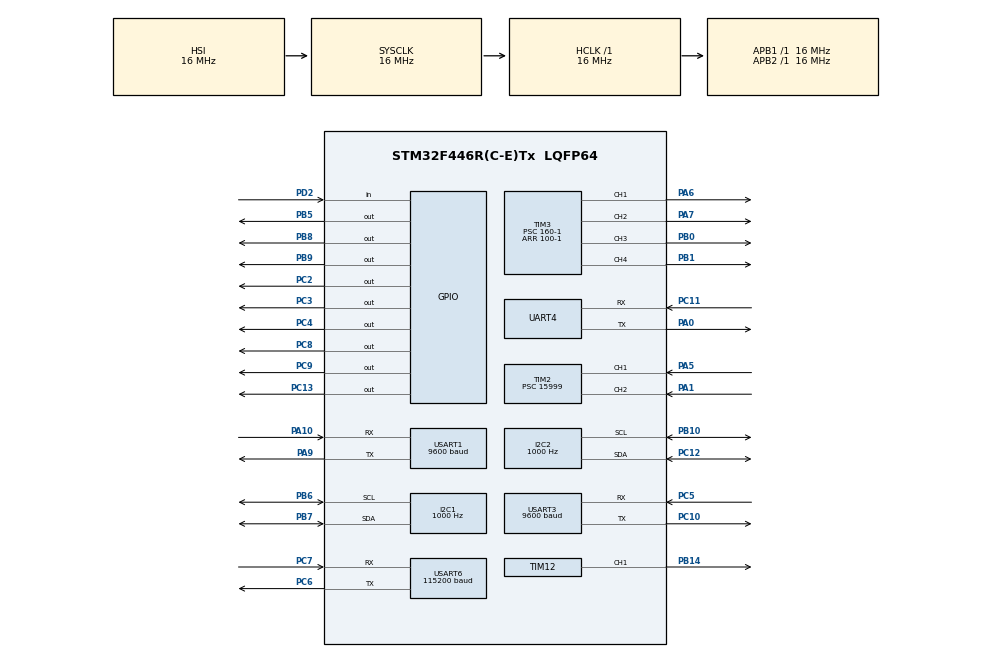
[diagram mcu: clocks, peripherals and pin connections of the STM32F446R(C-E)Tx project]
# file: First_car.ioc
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I2C1.ClockSpeed=1000
I2C2.ClockSpeed=1000
I2C2.OwnAddress=60
Mcu.Family=STM32F4
Mcu.Name=STM32F446R(C-E)Tx
Mcu.Package=LQFP64
NVIC.PriorityGroup=NVIC_PRIORITYGROUP_4
NVIC.TIM2_IRQn=true\:0\:0\:false\:false\:true\:true\:true\:true
NVIC.TIM7_IRQn=true\:15\:0\:false\:false\:true\:false\:true\:true
NVIC.TimeBase=TIM7_IRQn
NVIC.TimeBaseIP=TIM7
NVIC.UART4_IRQn=true\:6\:0\:true\:false\:true\:true\:true\:true
NVIC.USART1_IRQn=true\:8\:0\:true\:false\:true\:true\:true\:true
NVIC.USART3_IRQn=true\:7\:0\:true\:false\:true\:true\:true\:true
NVIC.USART6_IRQn=true\:7\:0\:true\:false\:true\:true\:true\:true
PA0-WKUP.Mode=Asynchronous
PA0-WKUP.Signal=UART4_TX
PA1.Signal=S_TIM2_CH2
PA10.Mode=Asynchronous
PA10.Signal=USART1_RX
PA5.GPIO_PuPd=GPIO_NOPULL
PA5.Signal=S_TIM2_CH1_ETR
PA6.Signal=S_TIM3_CH1
PA7.Signal=S_TIM3_CH2
PA9.Mode=Asynchronous
PA9.Signal=USART1_TX
PB0.Signal=S_TIM3_CH3
PB1.Signal=S_TIM3_CH4
PB10.Mode=I2C
PB10.Signal=I2C2_SCL
PB14.Signal=S_TIM12_CH1
PB4.Signal=I2C3_SDA
PB5.Signal=GPIO_Output
PB6.Mode=I2C
PB6.Signal=I2C1_SCL
PB7.Mode=I2C
PB7.Signal=I2C1_SDA
PB8.Signal=GPIO_Output
PB9.Signal=GPIO_Output
PC10.Mode=Asynchronous
PC10.Signal=USART3_TX
PC11.Mode=Asynchronous
PC11.Signal=UART4_RX
PC12.Mode=I2C
PC12.Signal=I2C2_SDA
PC13.Signal=GPIO_Output
PC2.Signal=GPIO_Output
PC3.Signal=GPIO_Output
PC4.Signal=GPIO_Output
PC5.Mode=Asynchronous
PC5.Signal=USART3_RX
PC6.Mode=Asynchronous
PC6.Signal=USART6_TX
PC7.Mode=Asynchronous
PC7.Signal=USART6_RX
PC8.Signal=GPIO_Output
PC9.Signal=GPIO_Output
PD2.Signal=GPIO_Input
ProjectManager.HeapSize=0x200
ProjectManager.StackSize=0x400
ProjectManager.TargetToolchain=STM32CubeIDE
RCC.AHBFreq_Value=16000000
RCC.APB1Freq_Value=16000000
RCC.APB1TimFreq_Value=16000000
RCC.APB2Freq_Value=16000000
RCC.APB2TimFreq_Value=16000000
RCC.CortexFreq_Value=16000000
RCC.HCLKFreq_Value=16000000
RCC.PLLM=8
RCC.PLLN=64
RCC.SYSCLKFreq_VALUE=16000000
RCC.USBFreq_Value=64000000
RCC.VCOOutputFreq_Value=128000000
SH.S_TIM12_CH1.0=TIM12_CH1,PWM Generation1 CH1
SH.S_TIM2_CH1_ETR.0=TIM2_CH1,Input_Capture1_from_TI1
SH.S_TIM2_CH2.0=TIM2_CH2,Input_Capture2_from_TI2
SH.S_TIM3_CH1.0=TIM3_CH1,PWM Generation1 CH1
SH.S_TIM3_CH2.0=TIM3_CH2,PWM Generation2 CH2
SH.S_TIM3_CH3.0=TIM3_CH3,PWM Generation3 CH3
SH.S_TIM3_CH4.0=TIM3_CH4,PWM Generation4 CH4
TIM10.Prescaler=16-1
TIM12.Channel-PWM\ Generation1\ CH1=TIM_CHANNEL_1
TIM12.Period=100-1
TIM12.Prescaler=80-1
TIM2.AutoReloadPreload=TIM_AUTORELOAD_PRELOAD_ENABLE
TIM2.Channel-Input_Capture1_from_TI1=TIM_CHANNEL_1
TIM2.Channel-Input_Capture2_from_TI2=TIM_CHANNEL_2
TIM2.Period=999
TIM2.Prescaler=15999
TIM3.Channel-PWM\ Generation1\ CH1=TIM_CHANNEL_1
TIM3.Channel-PWM\ Generation2\ CH2=TIM_CHANNEL_2
TIM3.Channel-PWM\ Generation3\ CH3=TIM_CHANNEL_3
TIM3.Channel-PWM\ Generation4\ CH4=TIM_CHANNEL_4
TIM3.Period=100-1
TIM3.Prescaler=160-1
UART4.VirtualMode=Asynchronous
USART1.BaudRate=9600
USART1.VirtualMode=VM_ASYNC
USART3.BaudRate=9600
USART3.VirtualMode=VM_ASYNC
USART6.BaudRate=115200
USART6.VirtualMode=VM_ASYNC
VP_SYS_VS_tim7.Mode=TIM7
VP_TIM10_VS_ClockSourceINT.Mode=Enable_Timer
VP_TIM6_VS_ClockSourceINT.Mode=Enable_Timer
board=custom

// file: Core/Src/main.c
/* USER CODE BEGIN Header */
/**
 ******************************************************************************
 * @file           : main.c
 * @brief          : Main program body
 ******************************************************************************
 * @attention
 *
 * Copyright (c) 2024 STMicroelectronics.
 * All rights reserved.
 *
 * This software is licensed under terms that can be found in the LICENSE file
 * in the root directory of this software component.
 * If no LICENSE file comes with this software, it is provided AS-IS.
 *
 ******************************************************************************
 */
/* USER CODE END Header */
#include "main.h"

/* USER CODE BEGIN Includes */
#include "FreeRTOS.h"
#include "task.h"
#include "timers.h"
#include "semphr.h"

#include "GPS.h"
#include "Buzzer.h"
#include "LCD_I2C.h"
#include "LightSensor.h"
#include "Help_Functions.h"
#include "calculateSpeed.h"
#include "Ultrasonic.h"

#include "Tasks.h"
#include "Call_Back_functions.h"
/* USER CODE END Includes */

I2C_HandleTypeDef hi2c1;
I2C_HandleTypeDef hi2c2;

TIM_HandleTypeDef htim2;
TIM_HandleTypeDef htim3;
TIM_HandleTypeDef htim6;
TIM_HandleTypeDef htim10;
TIM_HandleTypeDef htim12;

UART_HandleTypeDef huart4;
UART_HandleTypeDef huart1;
UART_HandleTypeDef huart3;
UART_HandleTypeDef huart6;

/* USER CODE BEGIN PV */
#define DWT_CTRL	(*(volatile uint32_t*)0xE0001000)
/* USER CODE END PV */

void SystemClock_Config(void);
static void MX_GPIO_Init(void);
static void MX_I2C1_Init(void);
static void MX_USART1_UART_Init(void);
static void MX_USART3_UART_Init(void);
static void MX_TIM2_Init(void);
static void MX_I2C2_Init(void);
static void MX_TIM3_Init(void);
static void MX_TIM6_Init(void);
static void MX_TIM12_Init(void);
static void MX_USART6_UART_Init(void);
static void MX_UART4_Init(void);
static void MX_TIM10_Init(void);

/* USER CODE BEGIN 0 */
/*****************************************Global_Varibles****************************************/
/*Creating Global received variable for BT*/
uint8_t received_char;

uint8_t ESP_Recieved_Char;

uint16_t Rasp_Recieved_Char;

/*Creating tasks handlers*/

TaskHandle_t Handle_CarControl;
TaskHandle_t Handle_GPS;
TaskHandle_t Handle_ESP_Periodic;
TaskHandle_t Handle_ESP_Status;
TaskHandle_t Handle_ESP_Receive;
TaskHandle_t Handle_LightSensor;
TaskHandle_t Handle_Distance_AboveThreshold;
TaskHandle_t Handle_Rasp_ReceiveData;
TaskHandle_t Handle_Rasp_SendData;

/*Creating a variable to save the return of the xcreateTask function (pdPass or pdFail) */

BaseType_t Status_CarControl;
BaseType_t Status_GPS;
BaseType_t Status_ESP_Periodic;
BaseType_t Status_ESP_Status;
BaseType_t Status_ESP_Receive;
BaseType_t Status_LightSensor;
BaseType_t Status_Distance_AboveThreshold;
BaseType_t Status_Rasp_Receive;
BaseType_t Status_Rasp_Send;

/*Creating SW Timers handle and id*/
TimerHandle_t Handle_Timer_RecieveESP;
uint8_t ID_TImer_RecieveESP = 3;

TimerHandle_t Handle_Timer_Breaking_Status;
uint8_t ID_TImer_Breaking_Status = 4;

/* USER CODE END 0 */

int main(void)
{

  /* MCU Configuration--------------------------------------------------------*/

  /* Reset of all peripherals, Initializes the Flash interface and the Systick. */
  HAL_Init();

  /* Configure the system clock */
  SystemClock_Config();

  /* Initialize all configured peripherals */
  MX_GPIO_Init();
  MX_I2C1_Init();
  MX_USART1_UART_Init();
  MX_USART3_UART_Init();
  MX_TIM2_Init();
  MX_I2C2_Init();
  MX_TIM3_Init();
  MX_TIM6_Init();
  MX_TIM12_Init();
  MX_USART6_UART_Init();
  MX_UART4_Init();
  MX_TIM10_Init();
  /* USER CODE BEGIN 2 */

	/********************************Hardware_Initializing*********************************************/
	LCD_voidInit();
    Ultasonic_voidInit();
   // GPS_voidInit();
	LightSensor_voidInit();

	/********************************Interrupts_Starting***********************************************/
	HAL_UART_Receive_IT(&huart4,&ESP_Recieved_Char ,2);              //ESP
	HAL_UART_Receive_IT(&huart6,&Rasp_Recieved_Char,1);				 //Raspberry
	HAL_UART_Receive_IT(&huart3,&received_char , 1);                 //Bluetooth
	__HAL_TIM_ENABLE_IT(&htim2, TIM_IT_UPDATE);                      //Speed
	HAL_TIM_IC_Start_IT(&htim2, TIM_CHANNEL_1);                      //Speed
	HAL_TIM_IC_Start_IT(&htim2, TIM_CHANNEL_2);                      //Speed

	/********************************SEGGER_Starting********************************************
	//	//Enable the CYCCN counter (For SEGGER)
	//	DWT_CTRL |= (1<<0);
	//
	//	SEGGER_SYSVIEW_Conf();
	//
	//	SEGGER_SYSVIEW_Start();
	//>>>>>>> Stashed change

	/************************************SW_Timers_Creation********************************************/
	Handle_Timer_RecieveESP = xTimerCreate("Timer_RecieveEsp", pdMS_TO_TICKS(6000), pdFALSE, &ID_TImer_RecieveESP, CallBack_TimerLCDBuzzer);
	Handle_Timer_Breaking_Status = xTimerCreate("Breaking_Status_Elimination", pdMS_TO_TICKS(1000), pdFALSE, &ID_TImer_Breaking_Status, CallBack_TimerBreakingStatus);

	/************************************TASKS_Creation************************************************/
	Status_GPS = xTaskCreate(TASK_GPS, "GPS", 150, NULL, Priority_TASK_GPS, &Handle_GPS);

	configASSERT(Status_GPS == pdPASS);

	Status_CarControl = xTaskCreate(TASK_CarControl, "CarControl", 200, NULL, Priority_TASK_CarControl, &Handle_CarControl);

	configASSERT(Status_CarControl == pdPASS);

	Status_ESP_Periodic = xTaskCreate(TASK_ESPSend_PeriodicData, "ESP_Periodic", 200, NULL, Priority_TASK_ESP_Periodic, &Handle_ESP_Periodic);

	configASSERT(Status_ESP_Periodic == pdPASS);

	Status_ESP_Status = xTaskCreate(TASK_ESP_SendStatus, "ESP_Status", 200, NULL, Priority_TASK_ESP_Status, &Handle_ESP_Status);

	configASSERT(Status_ESP_Status == pdPASS);

	Status_ESP_Receive = xTaskCreate(TASK_ESP_Receive, "ESP_Receive", 200, NULL, Priority_TASK_ESP_Receive, &Handle_ESP_Receive);

	configASSERT(Status_ESP_Receive == pdPASS);

	Status_LightSensor = xTaskCreate(TASK_LightSensor, "LightSensor", 200, NULL, Priority_TASK_LightSensor, &Handle_LightSensor);

	configASSERT(Status_LightSensor == pdPASS);

	Status_Distance_AboveThreshold = xTaskCreate(TASK_Distance_AboveThreshold, "D_Above_T", 150, NULL ,Priority_TASK_Distance_AboveThreshold, &Handle_Distance_AboveThreshold);

	configASSERT(Status_Distance_AboveThreshold == pdPASS);

	Status_Rasp_Receive = xTaskCreate(TASK_Rasp_Receive, "Rasp_Recieve", 200, NULL ,Priority_TASK_Rasp_Recieve, &Handle_Rasp_ReceiveData);

	configASSERT(Status_Rasp_Receive == pdPASS);

	Status_Rasp_Send = xTaskCreate(TASK_Rasp_Send, "Rasp_Send", 150, NULL ,Priority_TASK_Rasp_Send, &Handle_Rasp_SendData);

	configASSERT(Status_Rasp_Send == pdPASS);

	/**********************************Schedular_Starting********************************************/
	vTaskStartScheduler();

  /* USER CODE END 2 */

  /* Infinite loop */
	while (1)
	{

    /* USER CODE BEGIN 3 */

		/* USER CODE BEGIN 3 */

	}
  /* USER CODE END 3 */
}

void SystemClock_Config(void)
{
  RCC_OscInitTypeDef RCC_OscInitStruct = {0};
  RCC_ClkInitTypeDef RCC_ClkInitStruct = {0};

  /** Configure the main internal regulator output voltage
  */
  __HAL_RCC_PWR_CLK_ENABLE();
  __HAL_PWR_VOLTAGESCALING_CONFIG(PWR_REGULATOR_VOLTAGE_SCALE3);

  /** Initializes the RCC Oscillators according to the specified parameters
  * in the RCC_OscInitTypeDef structure.
  */
  RCC_OscInitStruct.OscillatorType = RCC_OSCILLATORTYPE_HSI;
  RCC_OscInitStruct.HSIState = RCC_HSI_ON;
  RCC_OscInitStruct.HSICalibrationValue = RCC_HSICALIBRATION_DEFAULT;
  RCC_OscInitStruct.PLL.PLLState = RCC_PLL_NONE;
  if (HAL_RCC_OscConfig(&RCC_OscInitStruct) != HAL_OK)
  {
    Error_Handler();
  }

  /** Initializes the CPU, AHB and APB buses clocks
  */
  RCC_ClkInitStruct.ClockType = RCC_CLOCKTYPE_HCLK|RCC_CLOCKTYPE_SYSCLK
                              |RCC_CLOCKTYPE_PCLK1|RCC_CLOCKTYPE_PCLK2;
  RCC_ClkInitStruct.SYSCLKSource = RCC_SYSCLKSOURCE_HSI;
  RCC_ClkInitStruct.AHBCLKDivider = RCC_SYSCLK_DIV1;
  RCC_ClkInitStruct.APB1CLKDivider = RCC_HCLK_DIV1;
  RCC_ClkInitStruct.APB2CLKDivider = RCC_HCLK_DIV1;

  if (HAL_RCC_ClockConfig(&RCC_ClkInitStruct, FLASH_LATENCY_0) != HAL_OK)
  {
    Error_Handler();
  }
}

static void MX_I2C1_Init(void)
{

  hi2c1.Instance = I2C1;
  hi2c1.Init.ClockSpeed = 1000;
  hi2c1.Init.DutyCycle = I2C_DUTYCYCLE_2;
  hi2c1.Init.OwnAddress1 = 0;
  hi2c1.Init.AddressingMode = I2C_ADDRESSINGMODE_7BIT;
  hi2c1.Init.DualAddressMode = I2C_DUALADDRESS_DISABLE;
  hi2c1.Init.OwnAddress2 = 0;
  hi2c1.Init.GeneralCallMode = I2C_GENERALCALL_DISABLE;
  hi2c1.Init.NoStretchMode = I2C_NOSTRETCH_DISABLE;
  if (HAL_I2C_Init(&hi2c1) != HAL_OK)
  {
    Error_Handler();
  }

}

static void MX_I2C2_Init(void)
{

  hi2c2.Instance = I2C2;
  hi2c2.Init.ClockSpeed = 1000;
  hi2c2.Init.DutyCycle = I2C_DUTYCYCLE_2;
  hi2c2.Init.OwnAddress1 = 120;
  hi2c2.Init.AddressingMode = I2C_ADDRESSINGMODE_7BIT;
  hi2c2.Init.DualAddressMode = I2C_DUALADDRESS_DISABLE;
  hi2c2.Init.OwnAddress2 = 0;
  hi2c2.Init.GeneralCallMode = I2C_GENERALCALL_DISABLE;
  hi2c2.Init.NoStretchMode = I2C_NOSTRETCH_DISABLE;
  if (HAL_I2C_Init(&hi2c2) != HAL_OK)
  {
    Error_Handler();
  }

}

static void MX_TIM2_Init(void)
{

  TIM_MasterConfigTypeDef sMasterConfig = {0};
  TIM_IC_InitTypeDef sConfigIC = {0};

  htim2.Instance = TIM2;
  htim2.Init.Prescaler = 15999;
  htim2.Init.CounterMode = TIM_COUNTERMODE_UP;
  htim2.Init.Period = 999;
  htim2.Init.ClockDivision = TIM_CLOCKDIVISION_DIV1;
  htim2.Init.AutoReloadPreload = TIM_AUTORELOAD_PRELOAD_ENABLE;
  if (HAL_TIM_IC_Init(&htim2) != HAL_OK)
  {
    Error_Handler();
  }
  sMasterConfig.MasterOutputTrigger = TIM_TRGO_RESET;
  sMasterConfig.MasterSlaveMode = TIM_MASTERSLAVEMODE_DISABLE;
  if (HAL_TIMEx_MasterConfigSynchronization(&htim2, &sMasterConfig) != HAL_OK)
  {
    Error_Handler();
  }
  sConfigIC.ICPolarity = TIM_INPUTCHANNELPOLARITY_RISING;
  sConfigIC.ICSelection = TIM_ICSELECTION_DIRECTTI;
  sConfigIC.ICPrescaler = TIM_ICPSC_DIV1;
  sConfigIC.ICFilter = 0;
  if (HAL_TIM_IC_ConfigChannel(&htim2, &sConfigIC, TIM_CHANNEL_1) != HAL_OK)
  {
    Error_Handler();
  }
  if (HAL_TIM_IC_ConfigChannel(&htim2, &sConfigIC, TIM_CHANNEL_2) != HAL_OK)
  {
    Error_Handler();
  }

}

static void MX_TIM3_Init(void)
{

  TIM_MasterConfigTypeDef sMasterConfig = {0};
  TIM_OC_InitTypeDef sConfigOC = {0};

  htim3.Instance = TIM3;
  htim3.Init.Prescaler = 160-1;
  htim3.Init.CounterMode = TIM_COUNTERMODE_UP;
  htim3.Init.Period = 100-1;
  htim3.Init.ClockDivision = TIM_CLOCKDIVISION_DIV1;
  htim3.Init.AutoReloadPreload = TIM_AUTORELOAD_PRELOAD_DISABLE;
  if (HAL_TIM_PWM_Init(&htim3) != HAL_OK)
  {
    Error_Handler();
  }
  sMasterConfig.MasterOutputTrigger = TIM_TRGO_RESET;
  sMasterConfig.MasterSlaveMode = TIM_MASTERSLAVEMODE_DISABLE;
  if (HAL_TIMEx_MasterConfigSynchronization(&htim3, &sMasterConfig) != HAL_OK)
  {
    Error_Handler();
  }
  sConfigOC.OCMode = TIM_OCMODE_PWM1;
  sConfigOC.Pulse = 0;
  sConfigOC.OCPolarity = TIM_OCPOLARITY_HIGH;
  sConfigOC.OCFastMode = TIM_OCFAST_DISABLE;
  if (HAL_TIM_PWM_ConfigChannel(&htim3, &sConfigOC, TIM_CHANNEL_1) != HAL_OK)
  {
    Error_Handler();
  }
  if (HAL_TIM_PWM_ConfigChannel(&htim3, &sConfigOC, TIM_CHANNEL_2) != HAL_OK)
  {
    Error_Handler();
  }
  if (HAL_TIM_PWM_ConfigChannel(&htim3, &sConfigOC, TIM_CHANNEL_3) != HAL_OK)
  {
    Error_Handler();
  }
  if (HAL_TIM_PWM_ConfigChannel(&htim3, &sConfigOC, TIM_CHANNEL_4) != HAL_OK)
  {
    Error_Handler();
  }
  HAL_TIM_MspPostInit(&htim3);

}

static void MX_TIM6_Init(void)
{

  TIM_MasterConfigTypeDef sMasterConfig = {0};

  htim6.Instance = TIM6;
  htim6.Init.Prescaler = 0;
  htim6.Init.CounterMode = TIM_COUNTERMODE_UP;
  htim6.Init.Period = 65535;
  htim6.Init.AutoReloadPreload = TIM_AUTORELOAD_PRELOAD_DISABLE;
  if (HAL_TIM_Base_Init(&htim6) != HAL_OK)
  {
    Error_Handler();
  }
  sMasterConfig.MasterOutputTrigger = TIM_TRGO_RESET;
  sMasterConfig.MasterSlaveMode = TIM_MASTERSLAVEMODE_DISABLE;
  if (HAL_TIMEx_MasterConfigSynchronization(&htim6, &sMasterConfig) != HAL_OK)
  {
    Error_Handler();
  }

}

static void MX_TIM10_Init(void)
{

  htim10.Instance = TIM10;
  htim10.Init.Prescaler = 16-1;
  htim10.Init.CounterMode = TIM_COUNTERMODE_UP;
  htim10.Init.Period = 65535;
  htim10.Init.ClockDivision = TIM_CLOCKDIVISION_DIV1;
  htim10.Init.AutoReloadPreload = TIM_AUTORELOAD_PRELOAD_DISABLE;
  if (HAL_TIM_Base_Init(&htim10) != HAL_OK)
  {
    Error_Handler();
  }

}

static void MX_TIM12_Init(void)
{

  TIM_OC_InitTypeDef sConfigOC = {0};

  htim12.Instance = TIM12;
  htim12.Init.Prescaler = 80-1;
  htim12.Init.CounterMode = TIM_COUNTERMODE_UP;
  htim12.Init.Period = 100-1;
  htim12.Init.ClockDivision = TIM_CLOCKDIVISION_DIV1;
  htim12.Init.AutoReloadPreload = TIM_AUTORELOAD_PRELOAD_DISABLE;
  if (HAL_TIM_PWM_Init(&htim12) != HAL_OK)
  {
    Error_Handler();
  }
  sConfigOC.OCMode = TIM_OCMODE_PWM1;
  sConfigOC.Pulse = 0;
  sConfigOC.OCPolarity = TIM_OCPOLARITY_HIGH;
  sConfigOC.OCFastMode = TIM_OCFAST_DISABLE;
  if (HAL_TIM_PWM_ConfigChannel(&htim12, &sConfigOC, TIM_CHANNEL_1) != HAL_OK)
  {
    Error_Handler();
  }
  HAL_TIM_MspPostInit(&htim12);

}

static void MX_UART4_Init(void)
{

  huart4.Instance = UART4;
  huart4.Init.BaudRate = 115200;
  huart4.Init.WordLength = UART_WORDLENGTH_8B;
  huart4.Init.StopBits = UART_STOPBITS_1;
  huart4.Init.Parity = UART_PARITY_NONE;
  huart4.Init.Mode = UART_MODE_TX_RX;
  huart4.Init.HwFlowCtl = UART_HWCONTROL_NONE;
  huart4.Init.OverSampling = UART_OVERSAMPLING_16;
  if (HAL_UART_Init(&huart4) != HAL_OK)
  {
    Error_Handler();
  }

}

static void MX_USART1_UART_Init(void)
{

  huart1.Instance = USART1;
  huart1.Init.BaudRate = 9600;
  huart1.Init.WordLength = UART_WORDLENGTH_8B;
  huart1.Init.StopBits = UART_STOPBITS_1;
  huart1.Init.Parity = UART_PARITY_NONE;
  huart1.Init.Mode = UART_MODE_TX_RX;
  huart1.Init.HwFlowCtl = UART_HWCONTROL_NONE;
  huart1.Init.OverSampling = UART_OVERSAMPLING_16;
  if (HAL_UART_Init(&huart1) != HAL_OK)
  {
    Error_Handler();
  }

}

static void MX_USART3_UART_Init(void)
{

  huart3.Instance = USART3;
  huart3.Init.BaudRate = 9600;
  huart3.Init.WordLength = UART_WORDLENGTH_8B;
  huart3.Init.StopBits = UART_STOPBITS_1;
  huart3.Init.Parity = UART_PARITY_NONE;
  huart3.Init.Mode = UART_MODE_TX_RX;
  huart3.Init.HwFlowCtl = UART_HWCONTROL_NONE;
  huart3.Init.OverSampling = UART_OVERSAMPLING_16;
  if (HAL_UART_Init(&huart3) != HAL_OK)
  {
    Error_Handler();
  }

}

static void MX_USART6_UART_Init(void)
{

  huart6.Instance = USART6;
  huart6.Init.BaudRate = 115200;
  huart6.Init.WordLength = UART_WORDLENGTH_8B;
  huart6.Init.StopBits = UART_STOPBITS_1;
  huart6.Init.Parity = UART_PARITY_NONE;
  huart6.Init.Mode = UART_MODE_TX_RX;
  huart6.Init.HwFlowCtl = UART_HWCONTROL_NONE;
  huart6.Init.OverSampling = UART_OVERSAMPLING_16;
  if (HAL_UART_Init(&huart6) != HAL_OK)
  {
    Error_Handler();
  }

}

static void MX_GPIO_Init(void)
{
  GPIO_InitTypeDef GPIO_InitStruct = {0};

  /* GPIO Ports Clock Enable */
  __HAL_RCC_GPIOC_CLK_ENABLE();
  __HAL_RCC_GPIOA_CLK_ENABLE();
  __HAL_RCC_GPIOB_CLK_ENABLE();
  __HAL_RCC_GPIOD_CLK_ENABLE();

  /*Configure GPIO pin Output Level */
  HAL_GPIO_WritePin(GPIOC, GPIO_PIN_13|GPIO_PIN_2|GPIO_PIN_3|GPIO_PIN_4
                          |GPIO_PIN_8|GPIO_PIN_9, GPIO_PIN_RESET);

  /*Configure GPIO pin Output Level */
  HAL_GPIO_WritePin(GPIOB, GPIO_PIN_5|GPIO_PIN_8|GPIO_PIN_9, GPIO_PIN_RESET);

  /*Configure GPIO pins : PC13 PC2 PC3 PC4
                           PC8 PC9 */
  GPIO_InitStruct.Pin = GPIO_PIN_13|GPIO_PIN_2|GPIO_PIN_3|GPIO_PIN_4
                          |GPIO_PIN_8|GPIO_PIN_9;
  GPIO_InitStruct.Mode = GPIO_MODE_OUTPUT_PP;
  GPIO_InitStruct.Pull = GPIO_NOPULL;
  GPIO_InitStruct.Speed = GPIO_SPEED_FREQ_LOW;
  HAL_GPIO_Init(GPIOC, &GPIO_InitStruct);

  /*Configure GPIO pin : PD2 */
  GPIO_InitStruct.Pin = GPIO_PIN_2;
  GPIO_InitStruct.Mode = GPIO_MODE_INPUT;
  GPIO_InitStruct.Pull = GPIO_NOPULL;
  HAL_GPIO_Init(GPIOD, &GPIO_InitStruct);

  /*Configure GPIO pin : PB4 */
  GPIO_InitStruct.Pin = GPIO_PIN_4;
  GPIO_InitStruct.Mode = GPIO_MODE_AF_OD;
  GPIO_InitStruct.Pull = GPIO_NOPULL;
  GPIO_InitStruct.Speed = GPIO_SPEED_FREQ_VERY_HIGH;
  GPIO_InitStruct.Alternate = GPIO_AF4_I2C3;
  HAL_GPIO_Init(GPIOB, &GPIO_InitStruct);

  /*Configure GPIO pins : PB5 PB8 PB9 */
  GPIO_InitStruct.Pin = GPIO_PIN_5|GPIO_PIN_8|GPIO_PIN_9;
  GPIO_InitStruct.Mode = GPIO_MODE_OUTPUT_PP;
  GPIO_InitStruct.Pull = GPIO_NOPULL;
  GPIO_InitStruct.Speed = GPIO_SPEED_FREQ_LOW;
  HAL_GPIO_Init(GPIOB, &GPIO_InitStruct);

}

void HAL_TIM_PeriodElapsedCallback(TIM_HandleTypeDef *htim)
{
  if (htim->Instance == TIM7) {
    HAL_IncTick();
  }
}

void Error_Handler(void)
{
	__disable_irq();
	while (1)
	{
	}
}

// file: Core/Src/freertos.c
/* USER CODE BEGIN Header */
/**
  ******************************************************************************
  * File Name          : freertos.c
  * Description        : Code for freertos applications
  ******************************************************************************
  * @attention
  *
  * Copyright (c) 2024 STMicroelectronics.
  * All rights reserved.
  *
  * This software is licensed under terms that can be found in the LICENSE file
  * in the root directory of this software component.
  * If no LICENSE file comes with this software, it is provided AS-IS.
  *
  ******************************************************************************
  */
/* USER CODE END Header */

#include "FreeRTOS.h"
#include "task.h"
#include "main.h"

/* Hook prototypes */
void vApplicationIdleHook(void);

/* USER CODE BEGIN 2 */
void vApplicationIdleHook( void )
{
   /* vApplicationIdleHook() will only be called if configUSE_IDLE_HOOK is set
   to 1 in FreeRTOSConfig.h. It will be called on each iteration of the idle
   task. It is essential that code added to this hook function never attempts
   to block in any way (for example, call xQueueReceive() with a block time
   specified, or call vTaskDelay()). If the application makes use of the
   vTaskDelete() API function (as this demo application does) then it is also
   important that vApplicationIdleHook() is permitted to return to its calling
   function, because it is the responsibility of the idle task to clean up
   memory allocated by the kernel to any task that has since been deleted. */
}
/* USER CODE END 2 */
